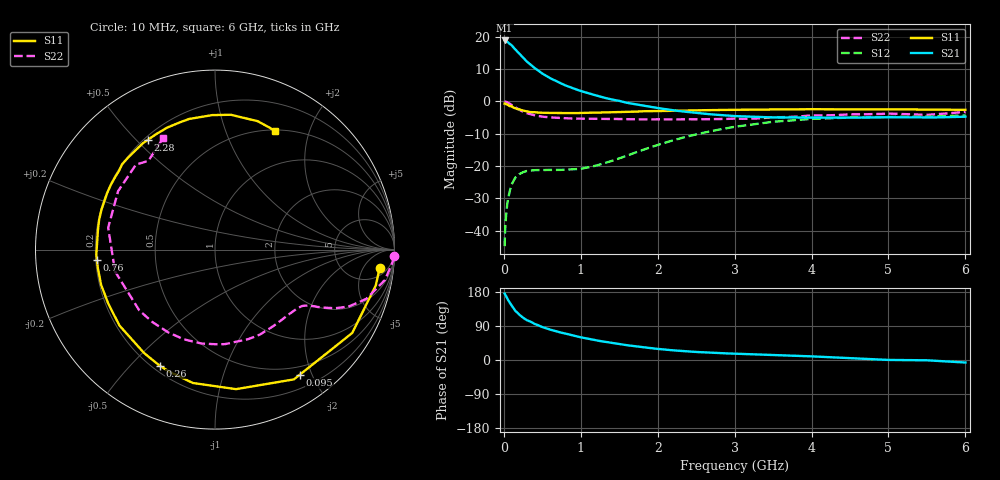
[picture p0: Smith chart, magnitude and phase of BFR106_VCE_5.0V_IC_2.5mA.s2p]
! Infineon Technologies  Discrete & RF Semiconductors
! BFR106
! VCE =  5.0 V,  IC =  2.5 mA
! Common Emitter S-Parameters:  Nov 2015
# GHz  S  MA  R  50
!  f  S11  S21  S12  S22
! GHz  MAG  ANG  MAG  ANG  MAG  ANG  MAG  ANG
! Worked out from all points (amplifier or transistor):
!   210 points, 10 MHz to 6 GHz, reference 50 ohm
!   highest |S21| = 18.8 dB at 10 MHz (marker M1)
!   |S21| within 3 dB of that: start of sweep to 158.8 MHz
!   unconditionally stable (mu >= 1): 753 MHz to 1.839 GHz; 4.169 GHz to end of sweep
!   at 185 MHz: K = 0.26, MSG = 19.0 dB, |S12| = -22.8 dB
!   at 1.52 GHz: K = 1.16, MAG = 6.3 dB, |S12| = -17.4 dB
!   at 6 GHz: K = 1.02, MAG = -1.1 dB, |S12| = -4.3 dB
!   S11 on the Smith chart (normalised r, x): 10 MHz: 8, -12; 95 MHz: 0.38, -1.82; 260 MHz: 0.23, -0.61; 760 MHz: 0.20, -0.04; 2.28 GHz: 0.21, +0.54; 6 GHz: 0.52, +1.50
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0.01  0.9231 -6.5  8.708 175.3  0.0058 87.3  0.9975 -2.2
0.025  0.9073 -15.6  8.532 170.1  0.0148 80.4  0.9858 -5.2
0.05  0.8944 -31.3  8.241 159.8  0.0289 73.0  0.9622 -10.1
0.095  0.8421 -55.9  7.429 145.6  0.0493 60.3  0.8937 -17.2
0.1  0.8463 -58.7  7.37 143.8  0.0517 59.5  0.887 -18.0
0.15  0.7863 -81.4  6.324 129.5  0.0664 49.0  0.8076 -23.2
0.2  0.7534 -99.4  5.486 119.8  0.0751 42.5  0.7425 -26.1
0.26  0.7166 -115.5  4.587 110.2  0.0812 36.6  0.6824 -28.2
0.3  0.6988 -124.4  4.103 105.1  0.084 34.4  0.6551 -29.2
0.4  0.68 -141.5  3.271 95.2  0.0865 30.6  0.6061 -30.9
0.48  0.6669 -150.8  2.796 88.8  0.087 30.0  0.5845 -32.4
0.6  0.6641 -162.9  2.285 80.3  0.0872 30.7  0.5647 -35.1
0.76  0.6604 -175.0  1.853 71.5  0.0876 34.8  0.5513 -39.5
1.02  0.662 169.4  1.421 59.1  0.0918 46.0  0.539 -47.7
1.4  0.6784 152.4  1.069 45.3  0.1196 62.5  0.5356 -62.1
2.02  0.7076 129.6  0.782 28.9  0.2151 68.7  0.5272 -89.7
2.28  0.7172 121.4  0.709 24.3  0.2656 66.2  0.5266 -102.7
3.1  0.7417 99.2  0.586 16.0  0.4187 49.9  0.5373 -146.6
3.5  0.7495 91.2  0.564 13.1  0.4839 40.9  0.5701 -167.7
4.1  0.7546 82.1  0.56 8.7  0.5399 27.1  0.6063 164.4
5.1  0.7519 70.7  0.567 0.0  0.5769 9.5  0.6406 131.7
6  0.7391 63.1  0.579 -6.7  0.6068 -2.0  0.6867 114.7
